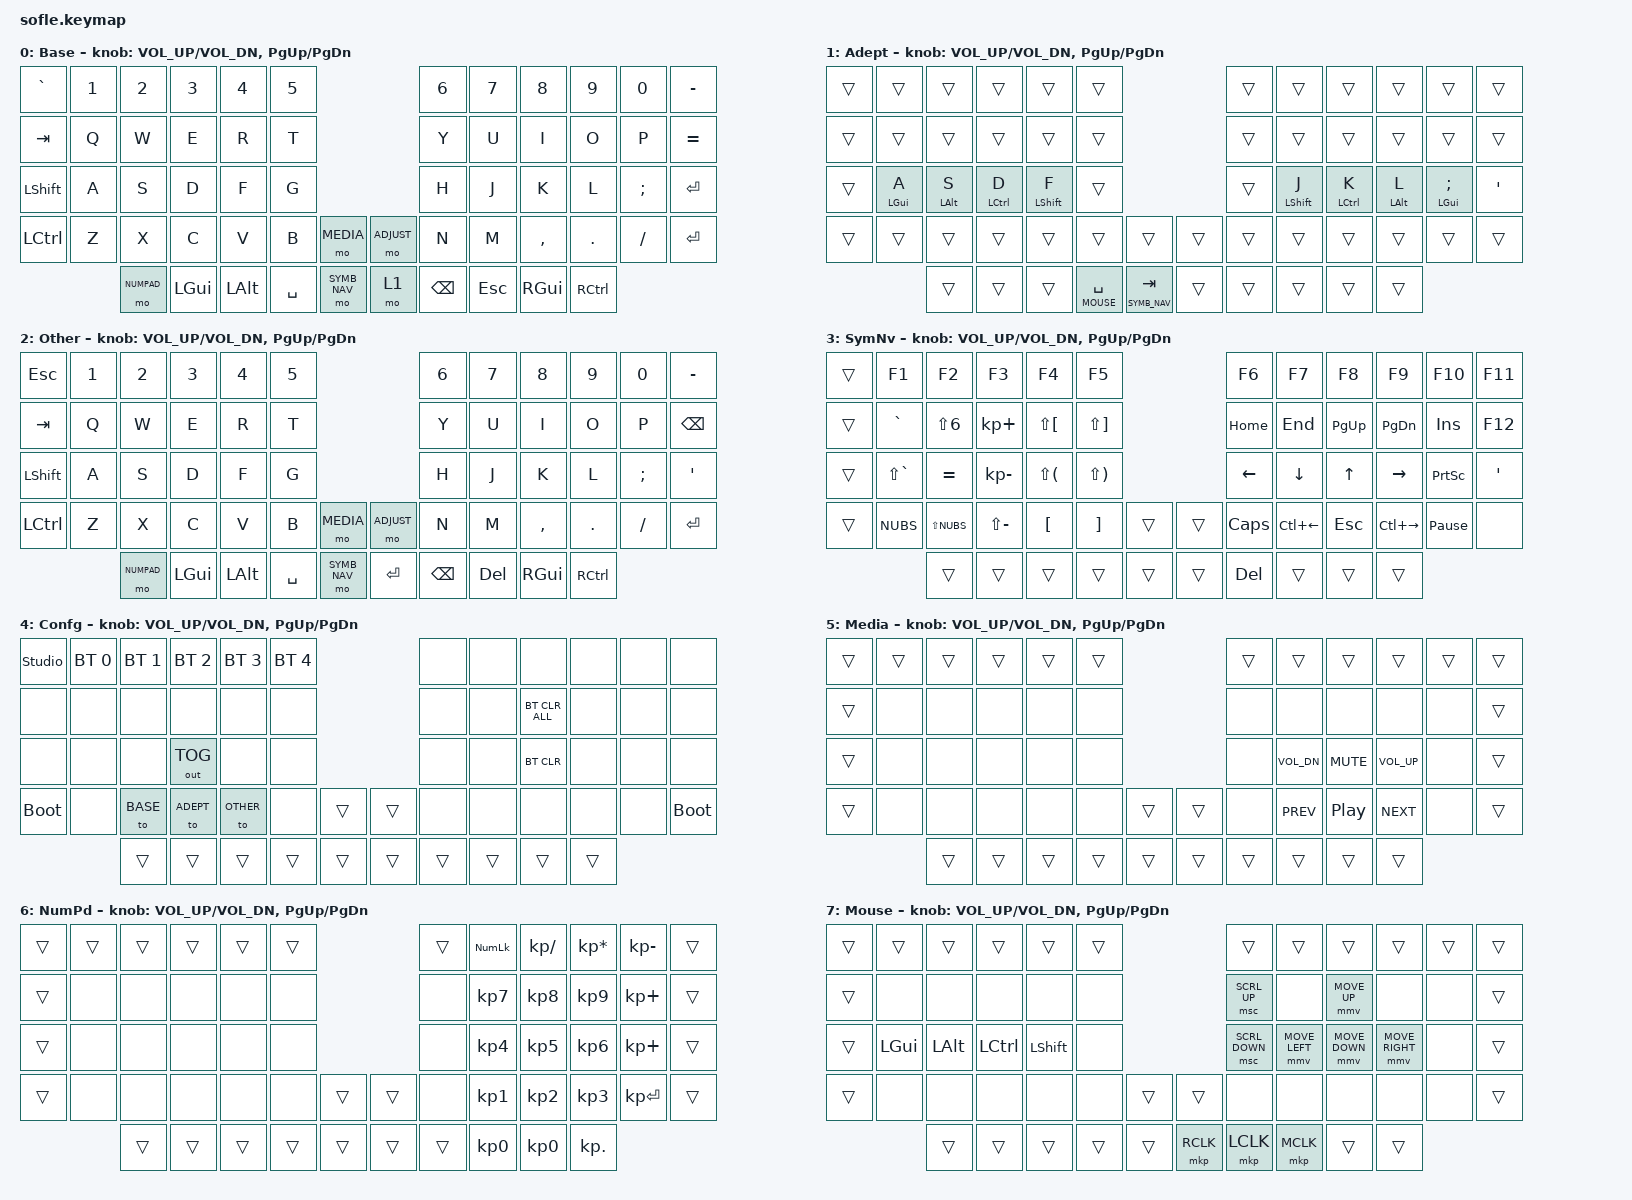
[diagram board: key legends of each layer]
/*
 * Copyright (c) 2020 The ZMK Contributors
 *
 * SPDX-License-Identifier: MIT
 */

#include <behaviors.dtsi>
#include <dt-bindings/zmk/bt.h>
#include <dt-bindings/zmk/keys.h>
#include <dt-bindings/zmk/outputs.h>
#include <dt-bindings/zmk/pointing.h>

#define BASE 0
#define ADEPT 1
#define OTHER 2
#define SYMB_NAV 3
#define ADJUST 4
#define MEDIA 5
#define NUMPAD 6
#define MOUSE 7

// ABNT2 keycodes
// Inspired by https://github.com/qmk/qmk_firmware/blob/master/quantum/keymap_extras/keymap_brazilian_abnt2.h

#define BR_SLSH INT1
#define BR_ACUT LBKT
#define BR_RBKT NUHS
#define BR_RBCT LS(NUHS)
#define BR_LBKT RBKT
#define BR_LBCT LS(RBKT)
#define TAPPING_TERM 300

&mt {
    tapping-term-ms = <TAPPING_TERM>;
    quick-tap-ms = <TAPPING_TERM>;
    flavor = "balanced";
};

&lt {
    tapping-term-ms = <TAPPING_TERM>;
    quick-tap-ms = <TAPPING_TERM>;
    flavor = "balanced";
};

/ {
    combos {
        compatible = "zmk,combos";

        combo_dongle_bootloader {
            // Faz o dongle entrar em modo de bootloader, para gravacao do firmware

            timeout-ms = <30>;
            key-positions = <50 51 58 59>; // 2 primeiras e 2 ultimas teclas da linha de teclas mais abaixo do teclado
            bindings = <&bootloader>;
        };
    };
};

/ {
    keymap {
        compatible = "zmk,keymap";

        // Layer template
        //        name_layer {
        //            display-name = "name";
        //            bindings = <
        //&trans    &trans    &trans    &trans      &trans    &trans                        &trans    &trans   &trans    &trans    &trans   &trans
        //&trans    &none     &none     &none       &none     &none                         &none     &none    &none     &none     &none    &trans
        //&trans    &none     &none     &none       &none     &none                         &none     &none    &none     &none     &none    &trans
        //&trans    &none     &none     &none       &none     &none      &trans    &trans   &none     &none    &none     &none     &none    &trans
        //                    &trans    &trans      &trans    &trans     &trans    &trans   &trans    &trans   &trans    &trans
        //            >;
        //
        //            sensor-bindings = <&inc_dec_kp C_VOL_UP C_VOL_DN &inc_dec_kp PG_UP PG_DN>;
        //        };

        base_layer {
            display-name = "Base";
            bindings = <
&kp GRAVE  &kp N1  &kp N2      &kp N3    &kp N4    &kp N5                                 &kp N6    &kp N7      &kp N8     &kp N9     &kp N0    &kp MINUS
&kp TAB    &kp Q   &kp W       &kp E     &kp R     &kp T                                  &kp Y     &kp U       &kp I      &kp O      &kp P     &kp EQUAL
&kp LSHFT  &kp A   &kp S       &kp D     &kp F     &kp G                                  &kp H     &kp J       &kp K      &kp L      &kp SEMI  &kp RETURN
&kp LCTRL  &kp Z   &kp X       &kp C     &kp V     &kp B      &mo MEDIA       &mo ADJUST  &kp N     &kp M       &kp COMMA  &kp DOT    &kp FSLH  &kp ENTER
                   &mo NUMPAD  &kp LGUI  &kp LALT  &kp SPACE  &mo SYMB_NAV    &mo 1       &kp BSPC  &kp ESCAPE  &kp RGUI   &kp RCTRL
            >;

            sensor-bindings = <&inc_dec_kp C_VOL_UP C_VOL_DN &inc_dec_kp PG_UP PG_DN>;
        };

        adept_layer {
            display-name = "Adept";
            bindings = <
&trans  &trans      &trans      &trans       &trans       &trans                                       &trans  &trans       &trans       &trans      &trans         &trans
&trans  &trans      &trans      &trans       &trans       &trans                                       &trans  &trans       &trans       &trans      &trans         &trans
&trans  &mt LGUI A  &mt LALT S  &mt LCTRL D  &mt LSHFT F  &trans                                       &trans  &mt LSHFT J  &mt LCTRL K  &mt LALT L  &mt LGUI SEMI  &kp APOS
&trans  &trans      &trans      &trans       &trans       &trans           &trans              &trans  &trans  &trans       &trans       &trans      &trans         &trans
                    &trans      &trans       &trans       &lt MOUSE SPACE  &lt SYMB_NAV TAB    &trans  &trans  &trans       &trans       &trans
            >;

            sensor-bindings = <&inc_dec_kp C_VOL_UP C_VOL_DN &inc_dec_kp PG_UP PG_DN>;
        };

        // By defaults its equal to base_layer. To be customized by user.

        other_layer {
            display-name = "Other";
            bindings = <
&kp ESC    &kp N1  &kp N2      &kp N3    &kp N4    &kp N5                                 &kp N6    &kp N7   &kp N8     &kp N9     &kp N0    &kp MINUS
&kp TAB    &kp Q   &kp W       &kp E     &kp R     &kp T                                  &kp Y     &kp U    &kp I      &kp O      &kp P     &kp BSPC
&kp LSHFT  &kp A   &kp S       &kp D     &kp F     &kp G                                  &kp H     &kp J    &kp K      &kp L      &kp SEMI  &kp SQT
&kp LCTRL  &kp Z   &kp X       &kp C     &kp V     &kp B      &mo MEDIA       &mo ADJUST  &kp N     &kp M    &kp COMMA  &kp DOT    &kp FSLH  &kp ENTER
                   &mo NUMPAD  &kp LGUI  &kp LALT  &kp SPACE  &mo SYMB_NAV    &kp ENTER   &kp BSPC  &kp DEL  &kp RGUI   &kp RCTRL
            >;

            sensor-bindings = <&inc_dec_kp C_VOL_UP C_VOL_DN &inc_dec_kp PG_UP PG_DN>;
        };

        symb_nav_layer {
            display-name = "SymNv";
            bindings = <
&trans  &kp F1         &kp F2        &kp F3         &kp F4                    &kp F5                                       &kp F6      &kp F7        &kp F8        &kp F9         &kp F10          &kp F11
&trans  &kp GRAVE      &kp LS(N6)    &kp KP_PLUS    &kp LS(LEFT_BRACKET)      &kp LS(RIGHT_BRACKET)                        &kp HOME    &kp END       &kp PAGE_UP   &kp PAGE_DOWN  &kp INS          &kp F12
&trans  &kp LS(GRAVE)  &kp EQUAL     &kp KP_MINUS   &kp LS(LEFT_PARENTHESIS)  &kp LS(RIGHT_PARENTHESIS)                    &kp LEFT    &kp DOWN      &kp UP_ARROW  &kp RIGHT      &kp PSCRN        &kp APOS
&trans  &kp NUBS       &kp LS(NUBS)  &kp LS(MINUS)  &kp LBKT                  &kp RBKT                   &trans    &trans  &kp CAPS    &kp LC(LEFT)  &kp ESC       &kp LC(RIGHT)  &kp PAUSE_BREAK  &none
                       &trans        &trans         &trans                    &trans                     &trans    &trans  &kp DELETE  &trans        &trans        &trans
            >;

            sensor-bindings = <&inc_dec_kp C_VOL_UP C_VOL_DN &inc_dec_kp PG_UP PG_DN>;
        };

        adjust_layer {
            display-name = "Confg";
            bindings = <
&studio_unlock  &bt BT_SEL 0  &bt BT_SEL 1  &bt BT_SEL 2  &bt BT_SEL 3  &bt BT_SEL 4                    &none   &none   &none           &none   &none  &none
&none           &none         &none         &none         &none         &none                           &none   &none   &bt BT_CLR_ALL  &none   &none  &none
&none           &none         &none         &out OUT_TOG  &none         &none                           &none   &none   &bt BT_CLR      &none   &none  &none
&bootloader     &none         &to BASE      &to ADEPT     &to OTHER     &none         &trans    &trans  &none   &none   &none           &none   &none  &bootloader
                              &trans        &trans        &trans        &trans        &trans    &trans  &trans  &trans  &trans          &trans
            >;

            sensor-bindings = <&inc_dec_kp C_VOL_UP C_VOL_DN &inc_dec_kp PG_UP PG_DN>;
        };

        media_layer {
            display-name = "Media";
            bindings = <
&trans  &trans  &trans  &trans  &trans  &trans                    &trans  &trans        &trans      &trans        &trans  &trans
&trans  &none   &none   &none   &none   &none                     &none   &none         &none       &none         &none   &trans
&trans  &none   &none   &none   &none   &none                     &none   &kp C_VOL_DN  &kp C_MUTE  &kp C_VOL_UP  &none   &trans
&trans  &none   &none   &none   &none   &none   &trans    &trans  &none   &kp C_PREV    &kp C_PP    &kp C_NEXT    &none   &trans
                &trans  &trans  &trans  &trans  &trans    &trans  &trans  &trans        &trans      &trans
            >;

            sensor-bindings = <&inc_dec_kp C_VOL_UP C_VOL_DN &inc_dec_kp PG_UP PG_DN>;
        };

        numpad_layer {
            display-name = "NumPd";
            bindings = <
&trans  &trans  &trans  &trans  &trans  &trans                    &trans  &kp KP_NLCK  &kp KP_SLASH  &kp KP_ASTERISK  &kp KP_MINUS  &trans
&trans  &none   &none   &none   &none   &none                     &none   &kp KP_N7    &kp KP_N8     &kp KP_N9        &kp KP_PLUS   &trans
&trans  &none   &none   &none   &none   &none                     &none   &kp KP_N4    &kp KP_N5     &kp KP_N6        &kp KP_PLUS   &trans
&trans  &none   &none   &none   &none   &none   &trans    &trans  &none   &kp KP_N1    &kp KP_N2     &kp KP_N3        &kp KP_ENTER  &trans
                &trans  &trans  &trans  &trans  &trans    &trans  &trans  &kp KP_N0    &kp KP_N0     &kp KP_DOT
            >;

            sensor-bindings = <&inc_dec_kp C_VOL_UP C_VOL_DN &inc_dec_kp PG_UP PG_DN>;
        };

        mouse_layer {
            display-name = "Mouse";
            bindings = <
&trans  &trans    &trans    &trans     &trans     &trans                       &trans          &trans          &trans          &trans           &trans  &trans
&trans  &none     &none     &none      &none      &none                        &msc SCRL_UP    &none           &mmv MOVE_UP    &none            &none   &trans
&trans  &kp LGUI  &kp LALT  &kp LCTRL  &kp LSHFT  &none                        &msc SCRL_DOWN  &mmv MOVE_LEFT  &mmv MOVE_DOWN  &mmv MOVE_RIGHT  &none   &trans
&trans  &none     &none     &none      &none      &none   &trans    &trans     &none           &none           &none           &none            &none   &trans
                  &trans    &trans     &trans     &trans  &trans    &mkp RCLK  &mkp LCLK       &mkp MCLK       &trans          &trans
            >;

            sensor-bindings = <&inc_dec_kp C_VOL_UP C_VOL_DN &inc_dec_kp PG_UP PG_DN>;
        };

        // Extra layers, so it can be added and customized in ZMK Studio

        extra1 { status = "reserved"; };

        extra2 { status = "reserved"; };

        extra3 { status = "reserved"; };

        extra4 { status = "reserved"; };

        extra5 { status = "reserved"; };

        extra6 { status = "reserved"; };

        extra7 { status = "reserved"; };

        extra8 { status = "reserved"; };
    };
};
